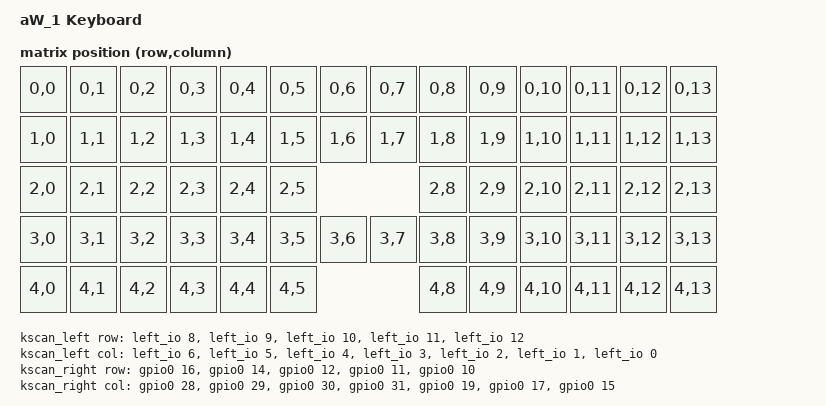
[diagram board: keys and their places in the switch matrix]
/*
 * Copyright (c) 2020 The ZMK Contributors
 *
 * SPDX-License-Identifier: MIT
 */

/dts-v1/;
#include <nordic/nrf52832_qfaa.dtsi>

#include <dt-bindings/zmk/matrix_transform.h>

/ {
    model = "aW_1 Keyboard";
	compatible = "aW_1", "nordic,nrf52832-qfaa", "nordic,nrf52832";

	chosen {
		zephyr,console = &uart0;
		zephyr,shell-uart = &uart0;
		zephyr,uart-mcumgr = &uart0;
		zephyr,bt-mon-uart = &uart0;
		zephyr,bt-c2h-uart = &uart0;
		zephyr,sram = &sram0;
		zephyr,flash = &flash0;
        zephyr,code-partition = &slot0_partition;
        zmk,kscan = &kscan;
        zmk,matrix-transform = &transform;
        zmk,battery = &vbatt;
	};

    transform: transform {
        compatible = "zmk,matrix-transform";
        rows = <5>;
        columns = <14>;

        map = <
        RC(0,0) RC(0,1) RC(0,2) RC(0,3) RC(0,4) RC(0,5) RC(0,6)     RC(0,7) RC(0,8) RC(0,9) RC(0,10) RC(0,11) RC(0,12) RC(0,13)
        RC(1,0) RC(1,1) RC(1,2) RC(1,3) RC(1,4) RC(1,5) RC(1,6)     RC(1,7) RC(1,8) RC(1,9) RC(1,10) RC(1,11) RC(1,12) RC(1,13)
        RC(2,0) RC(2,1) RC(2,2) RC(2,3) RC(2,4) RC(2,5)                     RC(2,8) RC(2,9) RC(2,10) RC(2,11) RC(2,12) RC(2,13)
        RC(3,0) RC(3,1) RC(3,2) RC(3,3) RC(3,4) RC(3,5) RC(3,6)     RC(3,7) RC(3,8) RC(3,9) RC(3,10) RC(3,11) RC(3,12) RC(3,13)
        RC(4,0) RC(4,1) RC(4,2) RC(4,3) RC(4,4) RC(4,5)                     RC(4,8) RC(4,9) RC(4,10) RC(4,11) RC(4,12) RC(4,13)
        >;
    };

    kscan: kscan {
        compatible = "zmk,kscan-composite";
        rows = <5>;
        columns = <14>;

        left {
            kscan = <&kscan_left>;
        };

        right {
            kscan = <&kscan_right>;
            column-offset = <7>;
        };
    };

    kscan_left: kscan_left {
        compatible = "zmk,kscan-gpio-matrix";

        diode-direction = "col2row";

        // todo
        col-gpios
        = <&left_io 6 (GPIO_ACTIVE_LOW)>
        , <&left_io 5 (GPIO_ACTIVE_LOW)>
        , <&left_io 4 (GPIO_ACTIVE_LOW)>
        , <&left_io 3 (GPIO_ACTIVE_LOW)>
        , <&left_io 2 (GPIO_ACTIVE_LOW)>
        , <&left_io 1 (GPIO_ACTIVE_LOW)>
        , <&left_io 0 (GPIO_ACTIVE_LOW)>
        ;
        row-gpios
        = <&left_io 8  (GPIO_ACTIVE_LOW | GPIO_PULL_UP)>
        , <&left_io 9  (GPIO_ACTIVE_LOW | GPIO_PULL_UP)>
        , <&left_io 10 (GPIO_ACTIVE_LOW | GPIO_PULL_UP)>
        , <&left_io 11 (GPIO_ACTIVE_LOW | GPIO_PULL_UP)>
        , <&left_io 12 (GPIO_ACTIVE_LOW | GPIO_PULL_UP)>
        ;
    };

    kscan_right: kscan_right {
        compatible = "zmk,kscan-gpio-matrix";

        diode-direction = "col2row";

        // todo
        col-gpios
        = <&gpio0 28 (GPIO_ACTIVE_LOW)>
        , <&gpio0 29 (GPIO_ACTIVE_LOW)>
        , <&gpio0 30 (GPIO_ACTIVE_LOW)>
        , <&gpio0 31 (GPIO_ACTIVE_LOW)>
        , <&gpio0 19 (GPIO_ACTIVE_LOW)>
        , <&gpio0 17 (GPIO_ACTIVE_LOW)>
        , <&gpio0 15 (GPIO_ACTIVE_LOW)>
        ;
        row-gpios
        = <&gpio0 16  (GPIO_ACTIVE_LOW | GPIO_PULL_UP)>
        , <&gpio0 14  (GPIO_ACTIVE_LOW | GPIO_PULL_UP)>
        , <&gpio0 12  (GPIO_ACTIVE_LOW | GPIO_PULL_UP)>
        , <&gpio0 11  (GPIO_ACTIVE_LOW | GPIO_PULL_UP)>
        , <&gpio0 10  (GPIO_ACTIVE_LOW | GPIO_PULL_UP)>
        ;
    };

    vbatt: vbatt {
        compatible = "zmk,battery-voltage-divider";
        io-channels = <&adc 2>;
        output-ohms = <2000000>;
        full-ohms = <(2000000 + 806000)>;
    };
};

&uicr {
    nfct-pins-as-gpios;
    gpio-as-nreset;
};

&adc {
	status ="okay";
};

&gpiote {
	status = "okay";
};

&gpio0 {
	status = "okay";
};

&pinctrl {
    uart0_default: uart0_default {
        group1 {
            psels = <NRF_PSEL(UART_RX, 0, 8)>, <NRF_PSEL(UART_CTS, 0, 7)>;
            bias-pull-up;
        };
        group2 {
            psels = <NRF_PSEL(UART_TX, 0, 6)>, <NRF_PSEL(UART_RTS, 0, 5)>;
        };
    };

    uart0_sleep: uart0_sleep {
        group1 {
            psels = <NRF_PSEL(UART_RX, 0, 8)>, <NRF_PSEL(UART_CTS, 0, 7)>,
                <NRF_PSEL(UART_TX, 0, 6)>, <NRF_PSEL(UART_RTS, 0, 5)>;
            low-power-enable;
        };
    };

    i2c0_default: i2c0_default {
        group1 {
            psels = <NRF_PSEL(TWIM_SDA, 0, 26)>,
                <NRF_PSEL(TWIM_SCL, 0, 27)>;
        };
    };

    i2c0_sleep: i2c0_sleep {
        group1 {
            psels = <NRF_PSEL(TWIM_SDA, 0, 26)>,
                <NRF_PSEL(TWIM_SCL, 0, 27)>;
            low-power-enable;
        };
    };
};

&uart0 {
	compatible = "nordic,nrf-uarte";
	status = "okay";
	current-speed = <115200>;
	pinctrl-0 = <&uart0_default>;
    pinctrl-1 = <&uart0_sleep>;
    pinctrl-names = "default", "sleep";
};

&i2c0 {
	compatible = "nordic,nrf-twi";
	status = "okay";
	pinctrl-0 = <&i2c0_default>;
    pinctrl-1 = <&i2c0_sleep>;
    pinctrl-names = "default", "sleep";
    clock-frequency = <I2C_BITRATE_FAST>;

    left_io: mcp23017@20 {
        compatible = "microchip,mcp230xx";
        status = "okay";
        gpio-controller;
        reg = <0x20>;
        #gpio-cells = <2>;
        ngpios = <16>;
    };
};

&flash0 {
	/*
	 * For more information, see:
	 * http://docs.zephyrproject.org/latest/guides/dts/index.html#flash-partitions
	 */
	partitions {
		compatible = "fixed-partitions";
		#address-cells = <1>;
		#size-cells = <1>;

		boot_partition: partition@0 {
			label = "mcuboot";
			reg = <0x00000000 0xc000>;
		};
		slot0_partition: partition@c000 {
			label = "image-0";
			reg = <0x0000C000 0x32000>;
		};
		slot1_partition: partition@3e000 {
			label = "image-1";
			reg = <0x0003E000 0x32000>;
		};
		scratch_partition: partition@70000 {
			label = "image-scratch";
			reg = <0x00070000 0xa000>;
		};
		storage_partition: partition@7a000 {
			label = "storage";
			reg = <0x0007a000 0x00006000>;
		};
	};
};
